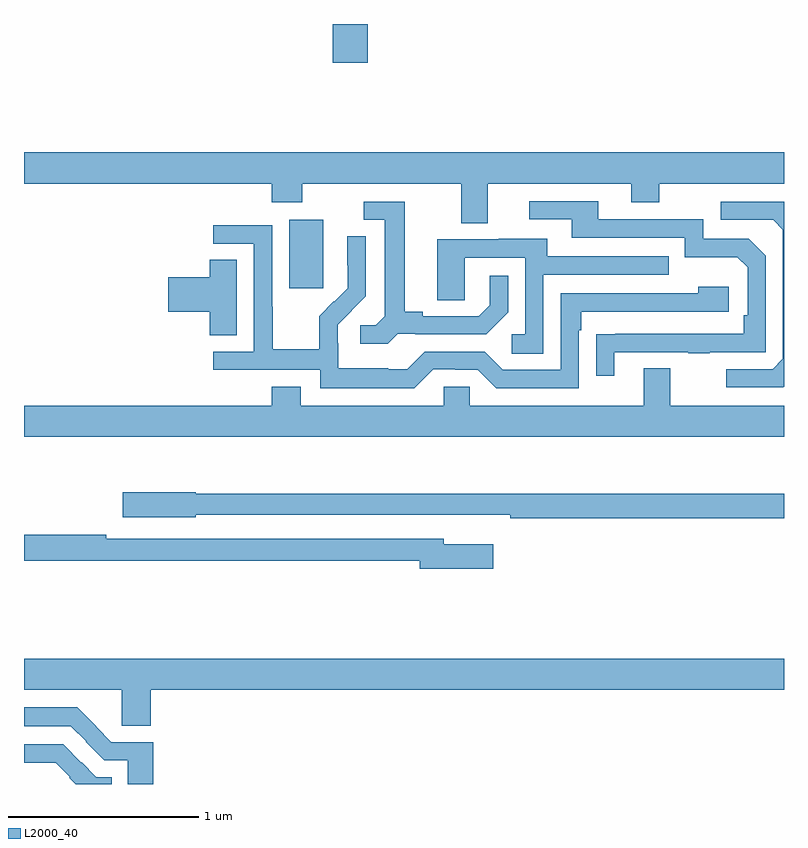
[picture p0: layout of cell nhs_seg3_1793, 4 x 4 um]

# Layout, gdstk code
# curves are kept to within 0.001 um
import gdstk
lib = gdstk.Library(unit=1e-6, precision=1e-09)
def R(c, l, rs):  # rectangles x0, y0, x1, y1
    for r in rs: c.add(gdstk.rectangle(r[:2], r[2:], *l))
def P(c, l, *ps):  # polygons
    for p in ps: c.add(gdstk.Polygon(p, *l))
L2000_40 = (2000, 40)

nhs_seg3_1793 = lib.new_cell('nhs_seg3_1793')
R(nhs_seg3_1793, L2000_40, [(204.395,723.009,204.574,723.37), (204.626,724.197,204.809,724.4)])
P(nhs_seg3_1793, L2000_40, [(205.441,723.56),(206.195,723.56),(206.195,723.461),(206.343,723.461),(206.343,723.56),(207,723.56),(207,723.724),(203,723.724),(203,723.56),(204.305,723.56),(204.305,723.461),(204.465,723.461),(204.465,723.56),(205.301,723.56),(205.301,723.352),(205.441,723.352)],
  [(206.107,722.673),(206.497,722.673),(206.497,722.668),(206.609,722.668),(206.609,722.673),(206.904,722.673),(206.904,723.18),(206.814,723.27),(206.574,723.27),(206.574,723.372),(206.023,723.372),(206.023,723.468),(205.659,723.468),(205.659,723.372),(205.883,723.372),(205.883,723.276),(206.478,723.276),(206.478,723.173),(206.755,723.173),(206.808,723.12),(206.808,722.866),(206.788,722.866),(206.788,722.769),(206.011,722.768),(206.011,722.55),(206.107,722.55)],
  [(207,722.49),(207,723.465),(206.667,723.465),(206.667,723.369),(206.943,723.369),(206.994,723.318),(206.994,722.637),(206.94,722.583),(206.697,722.583),(206.697,722.487),(206.997,722.487)],
  [(204.966,722.769),(205.06,722.769),(205.06,722.766),(205.432,722.766),(205.548,722.882),(205.548,723.076),(205.451,723.076),(205.451,722.919),(205.394,722.862),(205.099,722.862),(205.099,722.885),(205.003,722.885),(205.003,723.465),(204.789,723.465),(204.789,723.369),(204.899,723.369),(204.899,722.861),(204.852,722.814),(204.771,722.814),(204.771,722.717),(204.914,722.717)],
  [(205.155,722.583),(205.271,722.583),(205.271,722.58),(205.389,722.58),(205.485,722.484),(205.92,722.484),(205.92,722.789),(205.933,722.789),(205.933,722.886),(206.71,722.886),(206.71,723.016),(206.549,723.016),(206.549,722.982),(205.824,722.982),(205.824,722.58),(205.521,722.58),(205.425,722.676),(205.11,722.676),(205.017,722.583),(204.917,722.583),(204.917,722.587),(204.654,722.587),(204.654,722.721),(204.652,722.721),(204.652,722.818),(204.798,722.966),(204.798,723.284),(204.702,723.284),(204.702,723.13),(204.704,723.13),(204.704,723.008),(204.633,722.937),(204.63,722.94),(204.553,722.863),(204.553,722.689),(204.309,722.689),(204.309,722.912),(204.306,722.912),(204.306,723.342),(203.997,723.342),(203.997,723.243),(204.21,723.243),(204.21,722.676),(203.997,722.676),(203.997,722.58),(204.558,722.58),(204.558,722.483),(205.055,722.483)],
  [(205.734,723.081),(206.393,723.081),(206.393,723.177),(205.753,723.177),(205.753,723.271),(205.499,723.271),(205.499,723.267),(205.175,723.267),(205.175,722.947),(205.32,722.947),(205.32,723.171),(205.638,723.171),(205.638,722.766),(205.566,722.766),(205.566,722.665),(205.734,722.665)],
  [(204.121,723.158),(203.978,723.158),(203.978,723.068),(203.76,723.068),(203.76,722.885),(203.978,722.885),(203.978,722.761),(204.121,722.761)],
  [(207,722.392),(206.401,722.392),(206.401,722.587),(206.261,722.587),(206.261,722.392),(205.347,722.392),(205.347,722.49),(205.209,722.49),(205.209,722.392),(204.457,722.392),(204.457,722.491),(204.305,722.491),(204.305,722.392),(203,722.392),(203,722.228),(207,722.228)],
  [(207,721.927),(203.904,721.927),(203.904,721.935),(203.52,721.935),(203.52,721.805),(203.904,721.805),(203.904,721.818),(205.306,721.818),(205.306,721.817),(205.558,721.817),(205.558,721.798),(207,721.798)],
  [(205.471,721.663),(205.21,721.663),(205.21,721.692),(203.432,721.692),(203.432,721.712),(203,721.712),(203,721.576),(205.082,721.576),(205.082,721.534),(205.471,721.534)],
  [(203.666,720.896),(207,720.896),(207,721.06),(203,721.06),(203,720.896),(203.514,720.896),(203.514,720.706),(203.666,720.706)],
  [(203.681,720.621),(203.46,720.621),(203.379,720.702),(203.381,720.704),(203.28,720.805),(203,720.805),(203,720.704),(203.247,720.705),(203.328,720.624),(203.326,720.622),(203.423,720.525),(203.546,720.525),(203.546,720.4),(203.681,720.4)],
  [(203.461,720.436),(203.381,720.436),(203.303,720.514),(203.302,720.513),(203.206,720.609),(203,720.609),(203,720.512),(203.168,720.512),(203.242,720.437),(203.239,720.434),(203.273,720.4),(203.461,720.4)])

lib.write_gds('nhs_seg3_1793.gds')
